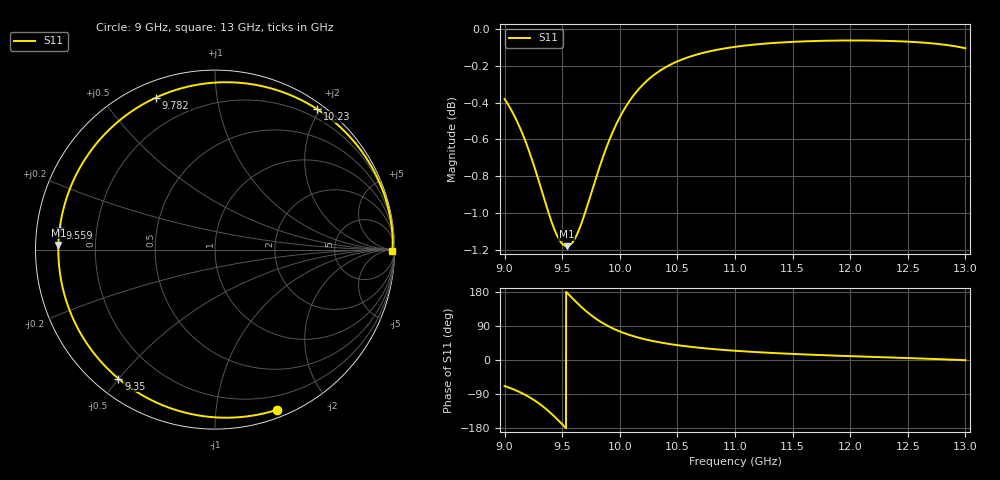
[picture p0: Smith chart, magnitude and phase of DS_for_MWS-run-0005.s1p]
! TOUCHSTONE file generated by CST DESIGN STUDIO
! Date and time: Wed Feb  5 13:39:11 2025
! Project name: C:\Work\MatlabApps\UnitCellOptimizationMatlab\CST\unitcell.cst
! Tree item: Tasks\Sweep1\SPara1\S-Parameters
! Header version: 2024
! Port assignment regex: !\s*Touchstone port\s*([0-9]+)\s*=\s*(CST MWS port|CST DES external port|CST DES block port)\s*(.+)\s* \(\"(.*)\"\)(\s*mode\s*([0-9]+))?.*
! Touchstone port assignment:
! Touchstone port 1 = CST DES external port 1 ("")
# GHz S MA R 50
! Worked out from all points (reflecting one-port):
!   4001 points, 9 GHz to 13 GHz, reference 50 ohm
!   lowest |S11| = -1.2 dB at 9.539 GHz (marker M1), VSWR 14.72, Z = 3.4 + j0.751 ohm
!   phase of S11 starts at -69 deg and turns -292 deg over the sweep
!   S11 on the Smith chart (normalised r, x): 9 GHz: 0.07, -1.46; 9.35 GHz: 0.07, -0.50; 9.559 GHz: 0.07, +0.07; 9.782 GHz: 0.07, +0.68; 10.23 GHz: 0.08, +1.96; 13 GHz: open
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9  0.9571 -68.8
9.098  0.9452 -80.1
9.206  0.9276 -96.5
9.282  0.9124 -111.1
9.35  0.8978 -126.8
9.391  0.8894 -137.5
9.433  0.8819 -149.3
9.467  0.8772 -159.4
9.5  0.8741 -169.5
9.539  0.8728 178.3
9.559  0.8731 172.0
9.613  0.8773 155.4
9.675  0.8868 137.6
9.728  0.8972 123.8
9.782  0.9086 111.3
9.828  0.918 101.9
9.878  0.9274 92.9
10  0.9463 75.3
10.107  0.9582 63.8
10.227  0.9676 54.1
10.353  0.9745 46.2
10.5  0.98 39.2
10.721  0.9852 31.3
11  0.9889 24.4
11.5  0.992 16.0
12  0.9929 10.1
12.5  0.9922 5.1
13  0.9881 -0.5
